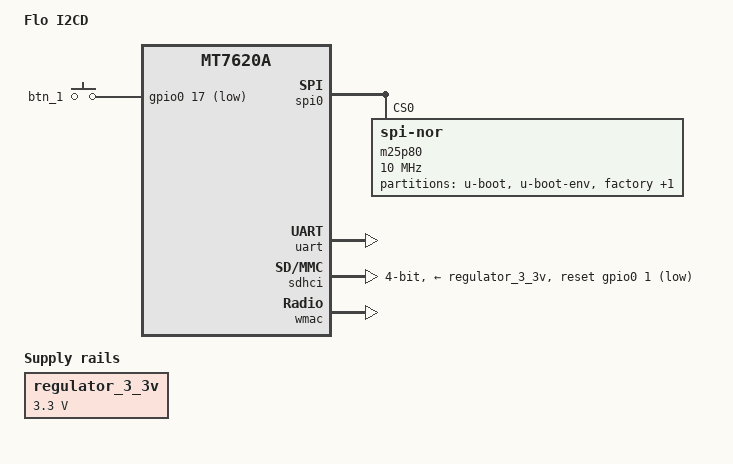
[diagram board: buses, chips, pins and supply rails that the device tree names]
/dts-v1/;

#include <dt-bindings/gpio/gpio.h>
#include "mt7620a.dtsi"

/ {
	compatible = "flo,i2cd", "ralink,mt7620a-soc";
	model = "Flo I2CD";

	chosen {
		bootargs = "console=ttyS1,57600";
	};

	gpio-keys-polled {
		compatible = "gpio-keys-polled";
		#address-cells = <1>;
		#size-cells = <0>;
		poll-interval = <20>;

		btn_1 {
			label = "btn_1";
			gpios = <&gpio0 17 1>;
			linux,code = <0x101>;
		};
	};

	sysctl_clkcfg1: sysctl_clkcfg1@0x10000030 {
		compatible = "mt7620-sysctl-clkcfg1", "syscon";
		reg = <0x10000030 0x4>;
	};

	regulator_3_3v: 3-3-v-regulator {
		compatible = "regulator-fixed";
		regulator-name = "3.3V";
		regulator-min-microvolt = <3300000>;
		regulator-max-microvolt = <3300000>;
		regulator-always-on;
	};
};

&spi0 {
	status = "okay";

	m25p80@0 {
		#address-cells = <1>;
		#size-cells = <1>;
		compatible = "jedec,spi-nor";
		reg = <0>;
		linux,modalias = "m25p80", "en25q64";
		spi-max-frequency = <10000000>;

		partition@0 {
			label = "u-boot";
			reg = <0x0 0x30000>;
			read-only;
		};

		partition@30000 {
			label = "u-boot-env";
			reg = <0x30000 0x10000>;
		};

		factory: partition@40000 {
			label = "factory";
			reg = <0x40000 0x10000>;
		};

		partition@50000 {
			label = "firmware";
			reg = <0x50000 0x7b0000>;
		};
	};
};

&pinctrl {
	state_default: pinctrl0 {
		gpio {
			ralink,group = "i2c", "wdt";
			ralink,function = "gpio";
		};
	};

	sdhci_sd_pins: sdhci_sd {
		nd_sd {
			ralink,group = "nd_sd";
			ralink,function = "sd";
		};
	};
};

&uart {
	pinctrl-names = "default";
	pinctrl-0 = <&uartf_gpio_pins>;

	status = "okay";
};

&sdhci {
	compatible = "i2cd,mt7620-sdhci";
	no-1-8-v;
	bus-width = <4>;
	cap-sd-highspeed;
	cap-mmc-highspeed;
	cap-mmc-hw-reset;
	max-frequency = <48000000>;
	vmmc-supply = <&regulator_3_3v>;
	vqmmc-supply = <&regulator_3_3v>;
	hclk-regmap = <&sysctl_clkcfg1 30>;
	pinctrl-names = "default", "state_uhs";
	pinctrl-0 = <&sdhci_sd_pins>;
	pinctrl-1 = <&sdhci_sd_pins>;
	reset-gpio = <&gpio0 1 GPIO_ACTIVE_LOW>;
	status = "okay";
};

&ethernet {
	mtd-mac-address = <&factory 0x4>;
};

&usbphy {
	status = "disabled";
};

&wmac {
	ralink,mtd-eeprom = <&factory 0>;
};
